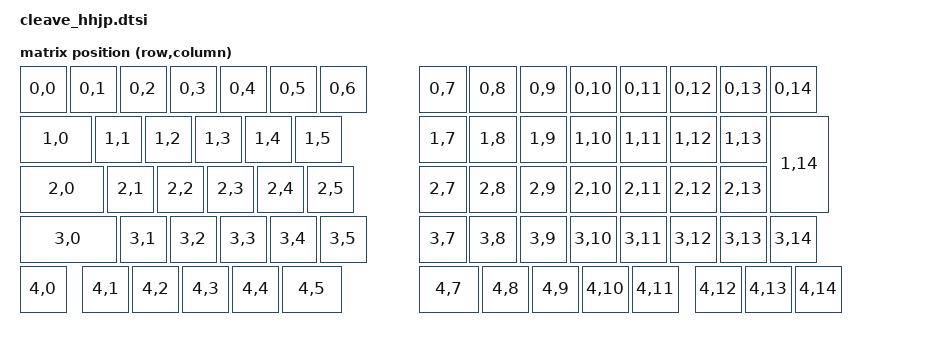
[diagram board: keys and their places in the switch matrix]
/*
 * Copyright (c) 2025
 * SPDX-License-Identifier: MIT
 */

#include <dt-bindings/zmk/matrix_transform.h>
#include <physical_layouts.dtsi>

/ {
	chosen {
		zmk,physical-layout = &cleave_hhjp_physical_layout;
	};

	cleave_hhjp_physical_layout: cleave_hhjp_physical_layout {
		compatible = "zmk,physical-layout";
		display-name = "Cleave HHJP";
		transform = <&default_transform>;
		kscan = <&kscan0>;

		keys  // 70 keys: width, height, x, y, r, rx, ry (in centi-keyunits, 1U = 100)
			// Row 0: ESC + 6 keys (left) + gap 2U + 8 keys (right)
			= <&key_physical_attrs 100 100   0   0 0 0 0>  // ESC
			, <&key_physical_attrs 100 100 100   0 0 0 0>  // 1
			, <&key_physical_attrs 100 100 200   0 0 0 0>  // 2
			, <&key_physical_attrs 100 100 300   0 0 0 0>  // 3
			, <&key_physical_attrs 100 100 400   0 0 0 0>  // 4
			, <&key_physical_attrs 100 100 500   0 0 0 0>  // 5
			, <&key_physical_attrs 100 100 600   0 0 0 0>  // 6
			, <&key_physical_attrs 100 100 800   0 0 0 0>  // 7 (gap 2U = 200)
			, <&key_physical_attrs 100 100 900   0 0 0 0>  // 8
			, <&key_physical_attrs 100 100 1000  0 0 0 0>  // 9
			, <&key_physical_attrs 100 100 1100  0 0 0 0>  // 0
			, <&key_physical_attrs 100 100 1200  0 0 0 0>  // -
			, <&key_physical_attrs 100 100 1300  0 0 0 0>  // ^
			, <&key_physical_attrs 100 100 1400  0 0 0 0>  // ¥
			, <&key_physical_attrs 100 100 1500  0 0 0 0>  // BS
			// Row 1: Tab(1.5U) + 5 keys (left) + gap 2U + 7 keys + Enter(1.25U×2h) (right)
			, <&key_physical_attrs 150 100   0 100 0 0 0>  // Tab (1.5U = 150)
			, <&key_physical_attrs 100 100 150 100 0 0 0>  // Q
			, <&key_physical_attrs 100 100 250 100 0 0 0>  // W
			, <&key_physical_attrs 100 100 350 100 0 0 0>  // E
			, <&key_physical_attrs 100 100 450 100 0 0 0>  // R
			, <&key_physical_attrs 100 100 550 100 0 0 0>  // T
			, <&key_physical_attrs 100 100 800 100 0 0 0>  // Y (gap 2U)
			, <&key_physical_attrs 100 100 900 100 0 0 0>  // U
			, <&key_physical_attrs 100 100 1000 100 0 0 0> // I
			, <&key_physical_attrs 100 100 1100 100 0 0 0> // O
			, <&key_physical_attrs 100 100 1200 100 0 0 0> // P
			, <&key_physical_attrs 100 100 1300 100 0 0 0> // @
			, <&key_physical_attrs 100 100 1400 100 0 0 0> // [
			, <&key_physical_attrs 125 200 1500 100 0 0 0> // Enter (1.25U×2h)
			// Row 2: Ctrl(1.75U) + 5 keys (left) + gap 2U + 7 keys (right)
			, <&key_physical_attrs 175 100   0 200 0 0 0>  // Ctrl (1.75U = 175)
			, <&key_physical_attrs 100 100 175 200 0 0 0>  // A
			, <&key_physical_attrs 100 100 275 200 0 0 0>  // S
			, <&key_physical_attrs 100 100 375 200 0 0 0>  // D
			, <&key_physical_attrs 100 100 475 200 0 0 0>  // F
			, <&key_physical_attrs 100 100 575 200 0 0 0>  // G
			, <&key_physical_attrs 100 100 800 200 0 0 0>  // H (gap 2U)
			, <&key_physical_attrs 100 100 900 200 0 0 0>  // J
			, <&key_physical_attrs 100 100 1000 200 0 0 0> // K
			, <&key_physical_attrs 100 100 1100 200 0 0 0> // L
			, <&key_physical_attrs 100 100 1200 200 0 0 0> // ;
			, <&key_physical_attrs 100 100 1300 200 0 0 0> // :
			, <&key_physical_attrs 100 100 1400 200 0 0 0> // ]
			// Row 3: LShift(2U) + 5 keys (left) + gap 2U + 6 keys + Up + RShift (right)
			, <&key_physical_attrs 200 100   0 300 0 0 0>  // LShift (2U = 200)
			, <&key_physical_attrs 100 100 200 300 0 0 0>  // Z
			, <&key_physical_attrs 100 100 300 300 0 0 0>  // X
			, <&key_physical_attrs 100 100 400 300 0 0 0>  // C
			, <&key_physical_attrs 100 100 500 300 0 0 0>  // V
			, <&key_physical_attrs 100 100 600 300 0 0 0>  // B
			, <&key_physical_attrs 100 100 800 300 0 0 0>  // N (gap 2U)
			, <&key_physical_attrs 100 100 900 300 0 0 0>  // M
			, <&key_physical_attrs 100 100 1000 300 0 0 0> // <
			, <&key_physical_attrs 100 100 1100 300 0 0 0> // >
			, <&key_physical_attrs 100 100 1200 300 0 0 0> // /
			, <&key_physical_attrs 100 100 1300 300 0 0 0> // _
			, <&key_physical_attrs 100 100 1400 300 0 0 0> // Up
			, <&key_physical_attrs 100 100 1500 300 0 0 0> // RShift
			// Row 4: Fn + gap 0.25U + 4 keys + Space(1.25U) (left) + gap 2U + Space(1.25U) + 3 keys + gap 0.25U + 3 arrows (right)
			, <&key_physical_attrs 100 100   0 400 0 0 0>  // Fn
			, <&key_physical_attrs 100 100 125 400 0 0 0>  // Win (gap 0.25U = 25)
			, <&key_physical_attrs 100 100 225 400 0 0 0>  // Cmd
			, <&key_physical_attrs 100 100 325 400 0 0 0>  // Alt
			, <&key_physical_attrs 100 100 425 400 0 0 0>  // E/J
			, <&key_physical_attrs 125 100 525 400 0 0 0>  // Space L (1.25U = 125)
			, <&key_physical_attrs 125 100 800 400 0 0 0>  // Space R (gap 2U, 1.25U)
			, <&key_physical_attrs 100 100 925 400 0 0 0>  // E/J
			, <&key_physical_attrs 100 100 1025 400 0 0 0> // Kana
			, <&key_physical_attrs 100 100 1125 400 0 0 0> // Alt
			, <&key_physical_attrs 100 100 1225 400 0 0 0> // Fn
			, <&key_physical_attrs 100 100 1350 400 0 0 0> // Left (gap 0.25U)
			, <&key_physical_attrs 100 100 1450 400 0 0 0> // Down
			, <&key_physical_attrs 100 100 1550 400 0 0 0> // Right
			;
	};

	default_transform: keymap_transform_0 {
		compatible = "zmk,matrix-transform";
		columns = <15>;
		rows = <5>;

		map = <
			RC(0,0) RC(0,1) RC(0,2) RC(0,3) RC(0,4) RC(0,5) RC(0,6)   RC(0,7) RC(0,8) RC(0,9) RC(0,10) RC(0,11) RC(0,12) RC(0,13) RC(0,14)
			RC(1,0) RC(1,1) RC(1,2) RC(1,3) RC(1,4) RC(1,5)           RC(1,7) RC(1,8) RC(1,9) RC(1,10) RC(1,11) RC(1,12) RC(1,13) RC(1,14)
			RC(2,0) RC(2,1) RC(2,2) RC(2,3) RC(2,4) RC(2,5)           RC(2,7) RC(2,8) RC(2,9) RC(2,10) RC(2,11) RC(2,12) RC(2,13)
			RC(3,0) RC(3,1) RC(3,2) RC(3,3) RC(3,4) RC(3,5)           RC(3,7) RC(3,8) RC(3,9) RC(3,10) RC(3,11) RC(3,12) RC(3,13) RC(3,14)
			RC(4,0) RC(4,1) RC(4,2) RC(4,3) RC(4,4) RC(4,5)           RC(4,7) RC(4,8) RC(4,9) RC(4,10) RC(4,11) RC(4,12) RC(4,13) RC(4,14)
		>;
	};

	kscan0: kscan_0 {
		compatible = "zmk,kscan-gpio-matrix";
		label = "KSCAN";
		diode-direction = "col2row";
	};
};
